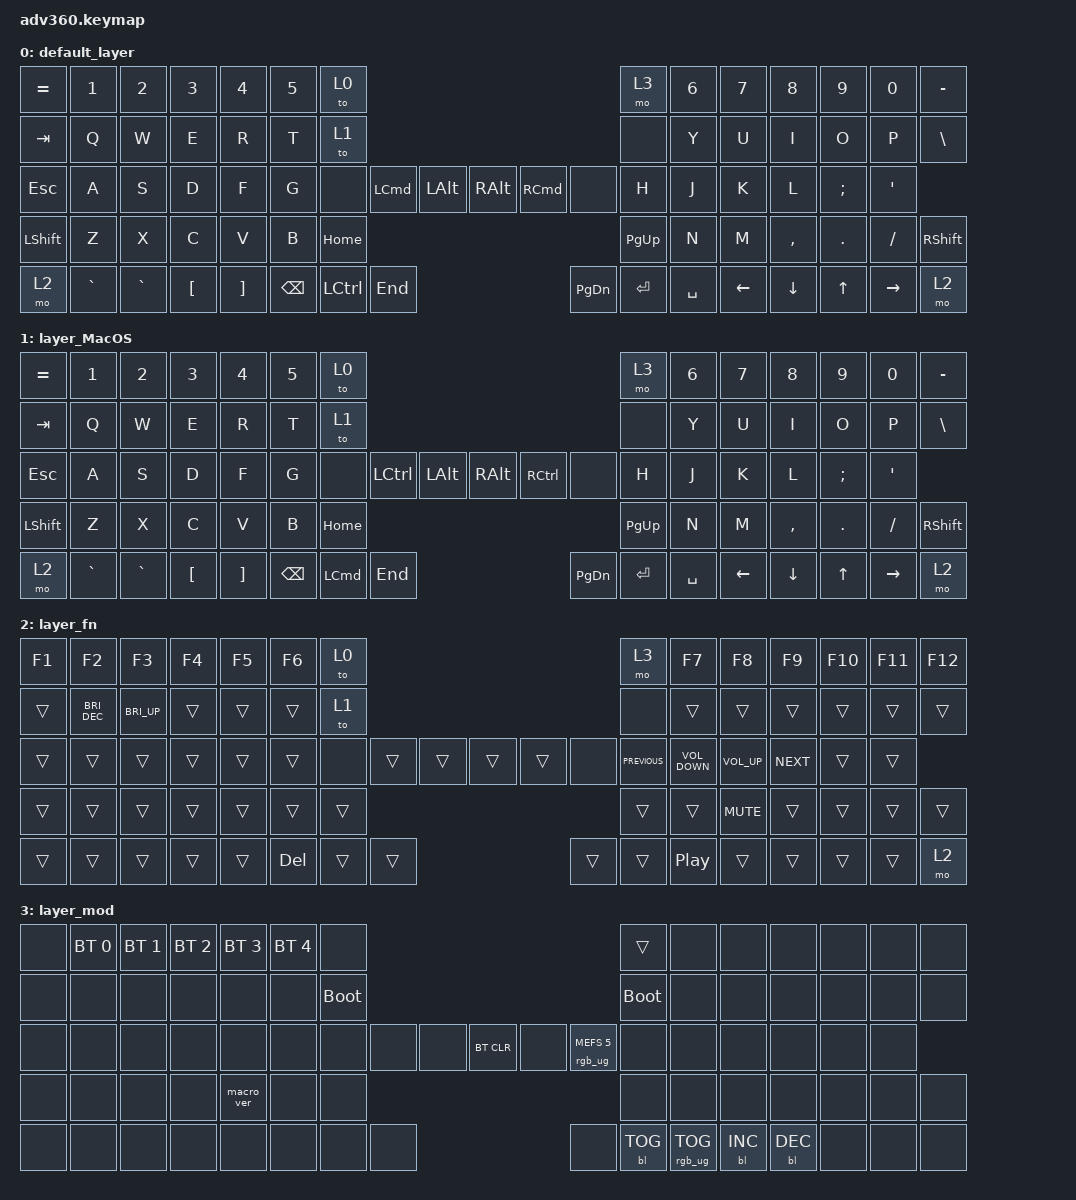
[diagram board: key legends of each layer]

/*
 * Copyright (c) 2020 The ZMK Contributors
 *
 * SPDX-License-Identifier: MIT
 */


/* THIS FILE WAS GENERATED!
 *
 * This file was generated automatically. You may or may not want to
 * edit it directly.
 */

#include <behaviors.dtsi>
#include <dt-bindings/zmk/keys.h>
#include <dt-bindings/zmk/bt.h>
#include <dt-bindings/zmk/rgb.h>
#include <dt-bindings/zmk/backlight.h>

/ {
  behaviors {
    #include "macros.dtsi"
    #include "version.dtsi"

    hm: homerow_mods {
        compatible = "zmk,behavior-hold-tap";
        label = "HOMEROW_MODS";
        #binding-cells = <2>;
        tapping-term-ms = <200>;
        quick_tap_ms = <175>;
        flavor = "tap-preferred";
        bindings = <&kp>, <&kp>;
    };
  };

    keymap {
        compatible = "zmk,keymap";


        default_layer {
            bindings = <
 &kp EQUAL     &kp N1     &kp N2            &kp N3             &kp N4  &kp N5               &to 0                                                                                &mo 3  &kp N6    &kp N7     &kp N8   &kp N9     &kp N0  &kp MINUS
   &kp TAB      &kp Q      &kp W             &kp E              &kp R   &kp T               &to 1                                                                                &none   &kp Y     &kp U      &kp I    &kp O      &kp P   &kp BSLH
   &kp ESC      &kp A      &kp S             &kp D              &kp F   &kp G               &none  &kp LEFT_COMMAND  &kp LALT                   &kp RALT  &kp RIGHT_COMMAND      &none   &kp H     &kp J      &kp K    &kp L   &kp SEMI    &kp SQT
 &kp LSHFT      &kp Z      &kp X             &kp C              &kp V   &kp B                                        &kp HOME                  &kp PG_UP                                 &kp N     &kp M  &kp COMMA  &kp DOT   &kp FSLH  &kp RSHFT
     &mo 2  &kp GRAVE  &kp GRAVE  &kp LEFT_BRACKET  &kp RIGHT_BRACKET                    &kp BSPC  &kp LEFT_CONTROL   &kp END                  &kp PG_DN          &kp ENTER  &kp SPACE          &kp LEFT   &kp DOWN   &kp UP  &kp RIGHT      &mo 2
            >;
        };

        layer_MacOS {
            bindings = <
 &kp EQUAL     &kp N1     &kp N2            &kp N3             &kp N4  &kp N5               &to 0                                                                        &mo 3  &kp N6    &kp N7     &kp N8   &kp N9     &kp N0  &kp MINUS
   &kp TAB      &kp Q      &kp W             &kp E              &kp R   &kp T               &to 1                                                                        &none   &kp Y     &kp U      &kp I    &kp O      &kp P   &kp BSLH
   &kp ESC      &kp A      &kp S             &kp D              &kp F   &kp G               &none         &kp LCTRL  &kp LALT                   &kp RALT  &kp RCTRL      &none   &kp H     &kp J      &kp K    &kp L   &kp SEMI    &kp SQT
 &kp LSHFT      &kp Z      &kp X             &kp C              &kp V   &kp B                                        &kp HOME                  &kp PG_UP                         &kp N     &kp M  &kp COMMA  &kp DOT   &kp FSLH  &kp RSHFT
     &mo 2  &kp GRAVE  &kp GRAVE  &kp LEFT_BRACKET  &kp RIGHT_BRACKET                    &kp BSPC  &kp LEFT_COMMAND   &kp END                  &kp PG_DN  &kp ENTER  &kp SPACE          &kp LEFT   &kp DOWN   &kp UP  &kp RIGHT      &mo 2
            >;
        };

        layer_fn {
            bindings = <
 &kp F1                &kp F2        &kp F3  &kp F4  &kp F5  &kp F6                 &to 0                                                             &mo 3          &kp F7             &kp F8           &kp F9     &kp F10  &kp F11  &kp F12
 &trans  &kp C_BRIGHTNESS_DEC  &kp C_BRI_UP  &trans  &trans  &trans                 &to 1                                                             &none          &trans             &trans           &trans      &trans   &trans   &trans
 &trans                &trans        &trans  &trans  &trans  &trans                 &none  &trans  &trans                  &trans  &trans             &none  &kp C_PREVIOUS  &kp C_VOLUME_DOWN  &kp C_VOLUME_UP  &kp C_NEXT   &trans   &trans
 &trans                &trans        &trans  &trans  &trans  &trans                                &trans                  &trans                                    &trans         &kp C_MUTE           &trans      &trans   &trans   &trans
 &trans                &trans        &trans  &trans  &trans                    &kp DELETE  &trans  &trans                  &trans  &trans  &kp C_PLAY_PAUSE                             &trans           &trans      &trans   &trans    &mo 2
            >;
        };

        layer_mod {
            bindings = <
  &none  &bt BT_SEL 0  &bt BT_SEL 1  &bt BT_SEL 2  &bt BT_SEL 3  &bt BT_SEL 4                  &none                                                                          &trans   &none       &none       &none   &none   &none   &none
  &none         &none         &none         &none         &none         &none            &bootloader                                                                     &bootloader   &none       &none       &none   &none   &none   &none
  &none         &none         &none         &none         &none         &none                  &none   &none   &none                  &bt BT_CLR       &none  &rgb_ug RGB_MEFS_CMD 5   &none       &none       &none   &none   &none   &none
  &none         &none         &none         &none    &macro_ver         &none                                  &none                       &none                                       &none       &none       &none   &none   &none   &none
  &none         &none         &none         &none         &none                                &none   &none   &none                       &none  &bl BL_TOG         &rgb_ug RGB_TOG          &bl BL_INC  &bl BL_DEC   &none   &none   &none
            >;
        };

    };
};
